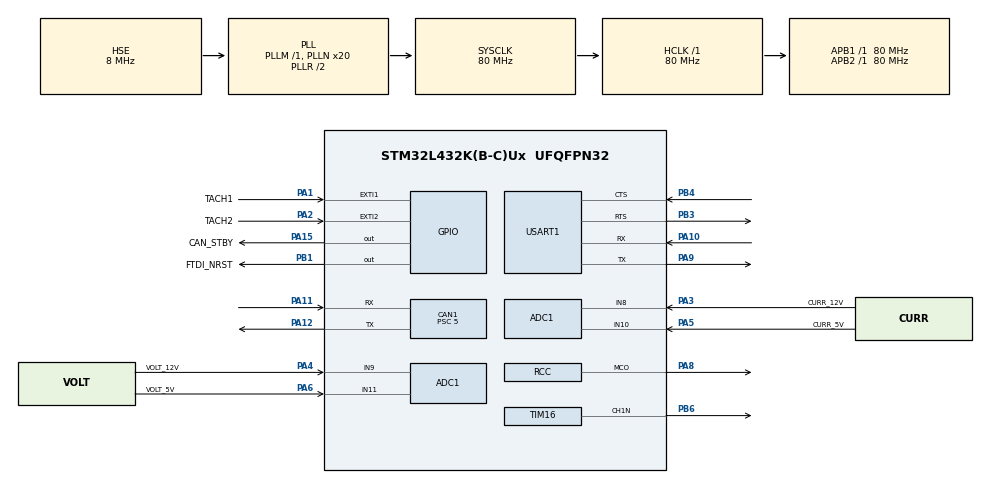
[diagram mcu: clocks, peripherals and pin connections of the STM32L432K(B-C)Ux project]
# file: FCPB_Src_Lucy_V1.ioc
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ADC1.Channel-5\#ChannelRegularConversion=ADC_CHANNEL_8
ADC1.Channel-6\#ChannelRegularConversion=ADC_CHANNEL_9
ADC1.Channel-7\#ChannelRegularConversion=ADC_CHANNEL_10
ADC1.Channel-8\#ChannelRegularConversion=ADC_CHANNEL_11
ADC1.ClockPrescaler=ADC_CLOCK_ASYNC_DIV1
ADC1.DataAlign=ADC_DATAALIGN_RIGHT
ADC1.EOCSelection=ADC_EOC_SINGLE_CONV
ADC1.EnableRegularConversion=ENABLE
ADC1.NbrOfConversion=4
ADC1.NbrOfConversionFlag=1
ADC1.OffsetNumber-5\#ChannelRegularConversion=ADC_OFFSET_NONE
ADC1.OffsetNumber-6\#ChannelRegularConversion=ADC_OFFSET_NONE
ADC1.OffsetNumber-7\#ChannelRegularConversion=ADC_OFFSET_NONE
ADC1.OffsetNumber-8\#ChannelRegularConversion=ADC_OFFSET_NONE
ADC1.Rank-5\#ChannelRegularConversion=1
ADC1.Rank-6\#ChannelRegularConversion=2
ADC1.Rank-7\#ChannelRegularConversion=3
ADC1.Rank-8\#ChannelRegularConversion=4
ADC1.SamplingTime-5\#ChannelRegularConversion=ADC_SAMPLETIME_640CYCLES_5
ADC1.SamplingTime-6\#ChannelRegularConversion=ADC_SAMPLETIME_640CYCLES_5
ADC1.SamplingTime-7\#ChannelRegularConversion=ADC_SAMPLETIME_640CYCLES_5
ADC1.SamplingTime-8\#ChannelRegularConversion=ADC_SAMPLETIME_640CYCLES_5
ADC1.master=1
CAN1.BS1=CAN_BS1_11TQ
CAN1.BS2=CAN_BS2_4TQ
CAN1.CalculateBaudRate=1000000
CAN1.CalculateTimeBit=1000
CAN1.CalculateTimeQuantum=62.5
CAN1.Mode=CAN_MODE_NORMAL
CAN1.Prescaler=5
Dma.ADC1.2.Direction=DMA_PERIPH_TO_MEMORY
Dma.ADC1.2.Instance=DMA1_Channel1
Dma.ADC1.2.MemDataAlignment=DMA_MDATAALIGN_HALFWORD
Dma.ADC1.2.MemInc=DMA_MINC_ENABLE
Dma.ADC1.2.Mode=DMA_NORMAL
Dma.ADC1.2.PeriphDataAlignment=DMA_PDATAALIGN_HALFWORD
Dma.ADC1.2.PeriphInc=DMA_PINC_DISABLE
Dma.ADC1.2.Priority=DMA_PRIORITY_LOW
Dma.Request0=USART1_RX
Dma.Request1=USART1_TX
Dma.Request2=ADC1
Dma.USART1_RX.0.Direction=DMA_PERIPH_TO_MEMORY
Dma.USART1_RX.0.Instance=DMA1_Channel5
Dma.USART1_RX.0.MemDataAlignment=DMA_MDATAALIGN_BYTE
Dma.USART1_RX.0.MemInc=DMA_MINC_ENABLE
Dma.USART1_RX.0.Mode=DMA_CIRCULAR
Dma.USART1_RX.0.PeriphDataAlignment=DMA_PDATAALIGN_BYTE
Dma.USART1_RX.0.PeriphInc=DMA_PINC_DISABLE
Dma.USART1_RX.0.Priority=DMA_PRIORITY_LOW
Dma.USART1_TX.1.Direction=DMA_MEMORY_TO_PERIPH
Dma.USART1_TX.1.Instance=DMA1_Channel4
Dma.USART1_TX.1.MemDataAlignment=DMA_MDATAALIGN_BYTE
Dma.USART1_TX.1.MemInc=DMA_MINC_ENABLE
Dma.USART1_TX.1.Mode=DMA_NORMAL
Dma.USART1_TX.1.PeriphDataAlignment=DMA_PDATAALIGN_BYTE
Dma.USART1_TX.1.PeriphInc=DMA_PINC_DISABLE
Dma.USART1_TX.1.Priority=DMA_PRIORITY_LOW
FREERTOS.BinarySemaphores01=canMsgOkSem,Dynamic,NULL
FREERTOS.Queues01=canRxDataQueue,128,uint32_t,0,Static,canRxDataQueueBuffer,canRxDataQueueControlBlock;canRxRtrQueue,128,uint32_t,0,Static,canRxRtrQueueBuffer,canRxRtrQueueControlBlock
FREERTOS.Tasks01=CanRxTask,25,128,StartCanRxTask,Default,NULL,Static,CanRxTaskBuffer,CanRxTaskControlBlock;AdcTask,26,128,StartAdcTask,Default,NULL,Static,AdcTaskBuffer,AdcTaskControlBlock;FanPwmTask,27,128,StartFanPwmTask,Default,NULL,Static,FanPwmTaskBuffer,FanPwmTaskControlBlock;CanRtrTask,28,128,StartCanRtrTask,Default,NULL,Static,CanRtrTaskBuffer,CanRtrTaskControlBlock
FREERTOS.Timers01=TimerFanRpm,ComputeRpmCallback,osTimerPeriodic,Default,NULL,Static,TimerFanRpmControlBlock
FREERTOS.configENABLE_FPU=1
FREERTOS.configUSE_NEWLIB_REENTRANT=1
Mcu.Family=STM32L4
Mcu.Name=STM32L432K(B-C)Ux
Mcu.Package=UFQFPN32
NVIC.ADC1_IRQn=true\:5\:0\:false\:false\:true\:true\:true\:true\:true
NVIC.CAN1_RX0_IRQn=true\:5\:0\:false\:false\:true\:true\:true\:true\:true
NVIC.CAN1_RX1_IRQn=true\:5\:0\:false\:false\:true\:true\:true\:true\:true
NVIC.CAN1_TX_IRQn=true\:5\:0\:false\:false\:true\:true\:true\:true\:true
NVIC.DMA1_Channel1_IRQn=true\:5\:0\:false\:false\:true\:true\:false\:true\:true
NVIC.DMA1_Channel4_IRQn=true\:5\:0\:false\:false\:true\:true\:false\:true\:true
NVIC.DMA1_Channel5_IRQn=true\:5\:0\:false\:false\:true\:true\:false\:true\:true
NVIC.EXTI1_IRQn=true\:5\:0\:false\:false\:true\:true\:true\:true\:true
NVIC.EXTI2_IRQn=true\:5\:0\:false\:false\:true\:true\:true\:true\:true
NVIC.PriorityGroup=NVIC_PRIORITYGROUP_4
NVIC.TIM1_UP_TIM16_IRQn=true\:15\:0\:false\:false\:true\:false\:false\:true\:true
NVIC.TimeBase=TIM1_UP_TIM16_IRQn
NVIC.TimeBaseIP=TIM1
NVIC.USART1_IRQn=true\:5\:0\:false\:false\:true\:true\:true\:true\:true
PA0.Mode=HSE-External-Clock-Source-for-LittleOrca
PA0.Signal=RCC_CK_IN
PA1.GPIO_Label=TACH1
PA1.GPIO_ModeDefaultEXTI=GPIO_MODE_IT_FALLING
PA1.Signal=GPXTI1
PA10.Mode=Asynchronous
PA10.Signal=USART1_RX
PA11.GPIO_PuPd=GPIO_PULLUP
PA11.Mode=CAN_Activate
PA11.Signal=CAN1_RX
PA12.Mode=CAN_Activate
PA12.Signal=CAN1_TX
PA13\ (JTMS-SWDIO).Mode=Serial_Wire
PA13\ (JTMS-SWDIO).Signal=SYS_JTMS-SWDIO
PA14\ (JTCK-SWCLK).Mode=Serial_Wire
PA14\ (JTCK-SWCLK).Signal=SYS_JTCK-SWCLK
PA15\ (JTDI).GPIO_Label=CAN_STBY
PA15\ (JTDI).GPIO_PuPd=GPIO_PULLDOWN
PA15\ (JTDI).Signal=GPIO_Output
PA2.GPIO_Label=TACH2
PA2.GPIO_ModeDefaultEXTI=GPIO_MODE_IT_FALLING
PA2.Signal=GPXTI2
PA3.GPIO_Label=CURR_12V
PA3.Signal=ADCx_IN8
PA4.GPIO_Label=VOLT_12V
PA4.Signal=ADCx_IN9
PA5.GPIO_Label=CURR_5V
PA5.Signal=ADCx_IN10
PA6.GPIO_Label=VOLT_5V
PA6.Signal=ADCx_IN11
PA8.Mode=Clock-out
PA8.Signal=RCC_MCO
PA9.Mode=Asynchronous
PA9.Signal=USART1_TX
PB1.GPIO_Label=FTDI_NRST
PB1.GPIO_PuPd=GPIO_PULLUP
PB1.Signal=GPIO_Output
PB3\ (JTDO-TRACESWO).Mode=CTS_RTS
PB3\ (JTDO-TRACESWO).Signal=USART1_RTS
PB4\ (NJTRST).Mode=CTS_RTS
PB4\ (NJTRST).Signal=USART1_CTS
PB6.GPIO_FM6=__NULL
PB6.GPIO_PuPd=GPIO_NOPULL
PB6.GPIO_Speed=GPIO_SPEED_FREQ_HIGH
PB6.Mode=PWM Generation1 CH1N
PB6.Signal=TIM16_CH1N
ProjectManager.HeapSize=0x200
ProjectManager.StackSize=0x400
ProjectManager.TargetToolchain=Makefile
RCC.ADCFreq_Value=32000000
RCC.AHBFreq_Value=80000000
RCC.APB1Freq_Value=80000000
RCC.APB1TimFreq_Value=80000000
RCC.APB2Freq_Value=80000000
RCC.APB2TimFreq_Value=80000000
RCC.CortexFreq_Value=80000000
RCC.HCLKFreq_Value=80000000
RCC.HSE_VALUE=8000000
RCC.HSI48_VALUE=48000000
RCC.HSI_VALUE=16000000
RCC.LSE_VALUE=32768
RCC.MSI_VALUE=4000000
RCC.PLLN=20
RCC.PLLSourceVirtual=RCC_PLLSOURCE_HSE
RCC.RCC_MCO1Source=RCC_MCO1SOURCE_HSE
RCC.RCC_MCODiv=RCC_MCODIV_8
RCC.SYSCLKFreq_VALUE=80000000
RCC.SYSCLKSource=RCC_SYSCLKSOURCE_PLLCLK
RCC.USBFreq_Value=32000000
RCC.VCOOutputFreq_Value=160000000
SH.ADCx_IN10.0=ADC1_IN10,IN10-Single-Ended
SH.ADCx_IN11.0=ADC1_IN11,IN11-Single-Ended
SH.ADCx_IN8.0=ADC1_IN8,IN8-Single-Ended
SH.ADCx_IN9.0=ADC1_IN9,IN9-Single-Ended
TIM16.AutoReloadPreload=TIM_AUTORELOAD_PRELOAD_ENABLE
TIM16.Channel=TIM_CHANNEL_1
TIM16.ClockDivision=TIM_CLOCKDIVISION_DIV1
TIM16.Period=99-1
TIM16.Prescaler=800-1
USART1.VirtualMode-Asynchronous=VM_ASYNC
VP_FREERTOS_VS_CMSIS_V2.Mode=CMSIS_V2
VP_SYS_VS_tim1.Mode=TIM1
VP_TIM16_VS_ClockSourceINT.Mode=Enable_Timer
board=custom

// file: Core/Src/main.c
/* USER CODE BEGIN Header */
/**
 ******************************************************************************
 * @file           : main.c
 * @brief          : Main program body
 ******************************************************************************
 * @attention
 *
 * Copyright (c) 2024 STMicroelectronics.
 * All rights reserved.
 *
 * This software is licensed under terms that can be found in the LICENSE file
 * in the root directory of this software component.
 * If no LICENSE file comes with this software, it is provided AS-IS.
 *
 ******************************************************************************
 */
/* USER CODE END Header */
#include "main.h"
#include "cmsis_os.h"

/* USER CODE BEGIN Includes */
#include "canid.h"
#include "cmsis_os2.h"
#include "stm32l4xx_hal_def.h"
#include "stm32l4xx_hal_tim.h"
#include <math.h>
#include <stdint.h>
#include <stdio.h>
#include <string.h>
/* USER CODE END Includes */

typedef StaticTask_t osStaticThreadDef_t;
typedef StaticQueue_t osStaticMessageQDef_t;
typedef StaticTimer_t osStaticTimerDef_t;
/* USER CODE BEGIN PTD */
typedef struct {
  float Volt_12;
  float Curr_12;
  float Volt_5;
  float Curr_5;
  float Tach_1_RPM;
  float Tach_2_RPM;
  float Duty_Cycle;
} fcpbData_t;

typedef struct {
  uint8_t H2_OK;
  float fcTemp;
  float fcPres;
} canData_t;
/* USER CODE END PTD */

/* USER CODE BEGIN PD */
#define CAN_MESSAGE_SENT_TIMEOUT_MS 500
#define CAN_ADD_TX_TIMEOUT_MS 500
/* USER CODE END PD */

ADC_HandleTypeDef hadc1;
DMA_HandleTypeDef hdma_adc1;

CAN_HandleTypeDef hcan1;

TIM_HandleTypeDef htim16;

UART_HandleTypeDef huart1;
DMA_HandleTypeDef hdma_usart1_rx;
DMA_HandleTypeDef hdma_usart1_tx;

/* Definitions for CanRxTask */
osThreadId_t CanRxTaskHandle;
uint32_t CanRxTaskBuffer[128];
osStaticThreadDef_t CanRxTaskControlBlock;
const osThreadAttr_t CanRxTask_attributes = {
    .name = "CanRxTask",
    .cb_mem = &CanRxTaskControlBlock,
    .cb_size = sizeof(CanRxTaskControlBlock),
    .stack_mem = &CanRxTaskBuffer[0],
    .stack_size = sizeof(CanRxTaskBuffer),
    .priority = (osPriority_t)osPriorityNormal1,
};
/* Definitions for AdcTask */
osThreadId_t AdcTaskHandle;
uint32_t AdcTaskBuffer[128];
osStaticThreadDef_t AdcTaskControlBlock;
const osThreadAttr_t AdcTask_attributes = {
    .name = "AdcTask",
    .cb_mem = &AdcTaskControlBlock,
    .cb_size = sizeof(AdcTaskControlBlock),
    .stack_mem = &AdcTaskBuffer[0],
    .stack_size = sizeof(AdcTaskBuffer),
    .priority = (osPriority_t)osPriorityNormal2,
};
/* Definitions for FanPwmTask */
osThreadId_t FanPwmTaskHandle;
uint32_t FanPwmTaskBuffer[128];
osStaticThreadDef_t FanPwmTaskControlBlock;
const osThreadAttr_t FanPwmTask_attributes = {
    .name = "FanPwmTask",
    .cb_mem = &FanPwmTaskControlBlock,
    .cb_size = sizeof(FanPwmTaskControlBlock),
    .stack_mem = &FanPwmTaskBuffer[0],
    .stack_size = sizeof(FanPwmTaskBuffer),
    .priority = (osPriority_t)osPriorityNormal3,
};
/* Definitions for CanRtrTask */
osThreadId_t CanRtrTaskHandle;
uint32_t CanRtrTaskBuffer[128];
osStaticThreadDef_t CanRtrTaskControlBlock;
const osThreadAttr_t CanRtrTask_attributes = {
    .name = "CanRtrTask",
    .cb_mem = &CanRtrTaskControlBlock,
    .cb_size = sizeof(CanRtrTaskControlBlock),
    .stack_mem = &CanRtrTaskBuffer[0],
    .stack_size = sizeof(CanRtrTaskBuffer),
    .priority = (osPriority_t)osPriorityNormal4,
};
/* Definitions for canRxDataQueue */
osMessageQueueId_t canRxDataQueueHandle;
uint8_t canRxDataQueueBuffer[128 * sizeof(uint32_t)];
osStaticMessageQDef_t canRxDataQueueControlBlock;
const osMessageQueueAttr_t canRxDataQueue_attributes = {
    .name = "canRxDataQueue",
    .cb_mem = &canRxDataQueueControlBlock,
    .cb_size = sizeof(canRxDataQueueControlBlock),
    .mq_mem = &canRxDataQueueBuffer,
    .mq_size = sizeof(canRxDataQueueBuffer)};
/* Definitions for canRxRtrQueue */
osMessageQueueId_t canRxRtrQueueHandle;
uint8_t canRxRtrQueueBuffer[128 * sizeof(uint32_t)];
osStaticMessageQDef_t canRxRtrQueueControlBlock;
const osMessageQueueAttr_t canRxRtrQueue_attributes = {
    .name = "canRxRtrQueue",
    .cb_mem = &canRxRtrQueueControlBlock,
    .cb_size = sizeof(canRxRtrQueueControlBlock),
    .mq_mem = &canRxRtrQueueBuffer,
    .mq_size = sizeof(canRxRtrQueueBuffer)};
/* Definitions for TimerFanRpm */
osTimerId_t TimerFanRpmHandle;
osStaticTimerDef_t TimerFanRpmControlBlock;
const osTimerAttr_t TimerFanRpm_attributes = {
    .name = "TimerFanRpm",
    .cb_mem = &TimerFanRpmControlBlock,
    .cb_size = sizeof(TimerFanRpmControlBlock),
};
/* Definitions for canMsgOkSem */
osSemaphoreId_t canMsgOkSemHandle;
const osSemaphoreAttr_t canMsgOkSem_attributes = {.name = "canMsgOkSem"};
/* USER CODE BEGIN PV */
CAN_RxHeaderTypeDef RxHeader;
uint8_t RxData[8];

volatile uint16_t adc1Results[4];

fcpbData_t fan_pwr_data = {
    0.00F, 0.00F, 0.00F, 0.00F, 0.00F, 0.00F, 0.00F,
};

canData_t can_bus_data = {0, 0.00F, 0.00F};

uint8_t RxUARTbuff;
uint8_t RxUARTData[32];
uint8_t UartIndex = 0;

uint32_t TxMailboxPwmTask;
uint32_t TxMailboxCanRtrTask;

uint32_t InterruptTracker[2] = {0};

// Global error tracking variable
uint32_t error_counter = 0;

/* USER CODE END PV */

void SystemClock_Config(void);
static void MX_GPIO_Init(void);
static void MX_DMA_Init(void);
static void MX_CAN1_Init(void);
static void MX_USART1_UART_Init(void);
static void MX_ADC1_Init(void);
static void MX_TIM16_Init(void);
void StartCanRxTask(void *argument);
void StartAdcTask(void *argument);
void StartFanPwmTask(void *argument);
void StartCanRtrTask(void *argument);
void ComputeRpmCallback(void *argument);

/* USER CODE BEGIN PFP */
void HAL_CAN_RxFifo0MsgPendingCallback(CAN_HandleTypeDef *hcan) {
  HAL_CAN_GetRxMessage(hcan, CAN_RX_FIFO0, &RxHeader, RxData);
  if (RxHeader.RTR == CAN_RTR_REMOTE) {
    osMessageQueuePut(canRxRtrQueueHandle, &RxHeader.StdId, 0U, 0UL);
  } else {
    osMessageQueuePut(canRxDataQueueHandle, &RxHeader.StdId, 0U, 0UL);
    // Data request, don't add anything else to queue
    if (RxHeader.DLC <= 4UL) {
      osMessageQueuePut(canRxDataQueueHandle, RxData, 0U, 0UL);
    } else {
      osMessageQueuePut(canRxDataQueueHandle, RxData, 0U, 0UL);
      osMessageQueuePut(canRxDataQueueHandle, &RxData[4], 0U, 0UL);
    }
  }
}

// void HAL_CAN_RxFifo1MsgPendingCallback(CAN_HandleTypeDef *hcan) {
//   HAL_CAN_GetRxMessage(hcan, CAN_RX_FIFO1, &RxHeader, RxData);
//   osMessageQueuePut(canRxQueueHandle, &RxHeader.StdId, 0U, 0UL);
//   // need condition for either 4 byte or 8 byte
//   if (RxHeader.DLC == 0UL) {
//     // Data request, don't add anything else to queue
//   } else if (RxHeader.DLC <= 4UL) {
//     osMessageQueuePut(canRxQueueHandle, RxData, 0U, 0UL);
//   } else {
//     osMessageQueuePut(canRxQueueHandle, RxData, 0U, 0UL);
//     osMessageQueuePut(canRxQueueHandle, &RxData[4], 0U, 0UL);
//   }
// }

/* Transmit Completed Callbacks for Message Sent Confirmations */
void HAL_CAN_TxMailbox0CompleteCallback(CAN_HandleTypeDef *hcan) {}
void HAL_CAN_TxMailbox1CompleteCallback(CAN_HandleTypeDef *hcan) {}
void HAL_CAN_TxMailbox2CompleteCallback(CAN_HandleTypeDef *hcan) {}

void HAL_UART_RxCpltCallback(UART_HandleTypeDef *huart) {
  if (RxUARTbuff == (char)0x04) {
    HAL_UART_Transmit_DMA(huart, RxUARTData, UartIndex);
    UartIndex = 0;
  } else {
    RxUARTData[UartIndex] = RxUARTbuff;
    if (UartIndex == (sizeof(RxUARTData) - 1)) {
      UartIndex = 0;
    } else {
      UartIndex++;
    }
  }
  HAL_UART_Receive_DMA(huart, &RxUARTbuff, 1U);
}

void HAL_GPIO_EXTI_Callback(uint16_t GPIO_Pin) {
  switch (GPIO_Pin) {
  case (TACH1_Pin):
    InterruptTracker[0]++;
    break;
  case (TACH2_Pin):
    InterruptTracker[1]++;
    break;
  default:
    /* Should never happen */
    break;
  }
}

// Utilized in ADC Thread below
uint32_t conversion_completed = 0;

void HAL_ADC_ConvCpltCallback(ADC_HandleTypeDef *hadc) {
  if (hadc->Instance == hadc1.Instance) {
    conversion_completed++;
  }
}

HAL_StatusTypeDef HAL_CAN_SafeAddTxMessage(uint8_t *msg, uint32_t msg_id,
                                           uint32_t msg_length,
                                           uint32_t *TxMailbox, uint32_t rtr) {
  uint32_t fc_tick;
  HAL_StatusTypeDef hal_stat;
  CAN_TxHeaderTypeDef TxHeader;

  // These will never change
  TxHeader.IDE = CAN_ID_STD;
  TxHeader.ExtId = 0;
  TxHeader.TransmitGlobalTime = DISABLE;

  // User will give us this information
  TxHeader.RTR = rtr;
  TxHeader.StdId = msg_id;
  TxHeader.DLC = msg_length;

  // Start a timer to check timeout conditions
  fc_tick = HAL_GetTick();

  /* Try to add a Tx message. Returns HAL_ERROR if there are no avail
   * mailboxes or if the peripheral is not initialized. */
  do {
    hal_stat = HAL_CAN_AddTxMessage(&hcan1, &TxHeader, msg, TxMailbox);
  } while (hal_stat != HAL_OK &&
           (HAL_GetTick() - fc_tick < CAN_ADD_TX_TIMEOUT_MS));

  return hal_stat;
}
/* USER CODE END PFP */

int main(void) {

  /* MCU Configuration--------------------------------------------------------*/

  /* Reset of all peripherals, Initializes the Flash interface and the Systick.
   */
  HAL_Init();

  /* Configure the system clock */
  SystemClock_Config();

  /* Initialize all configured peripherals */
  MX_GPIO_Init();
  MX_DMA_Init();
  MX_CAN1_Init();
  MX_USART1_UART_Init();
  MX_ADC1_Init();
  MX_TIM16_Init();
  /* USER CODE BEGIN 2 */
  HAL_CAN_Start(&hcan1);

  HAL_GPIO_WritePin(FTDI_NRST_GPIO_Port, FTDI_NRST_Pin, GPIO_PIN_SET);

  HAL_UART_Receive_DMA(&huart1, &RxUARTbuff, 1U);
  /* USER CODE END 2 */

  /* Init scheduler */
  osKernelInitialize();

  /* Create the semaphores(s) */
  /* creation of canMsgOkSem */
  canMsgOkSemHandle = osSemaphoreNew(1, 0, &canMsgOkSem_attributes);

  /* Create the timer(s) */
  /* creation of TimerFanRpm */
  TimerFanRpmHandle = osTimerNew(ComputeRpmCallback, osTimerPeriodic, NULL,
                                 &TimerFanRpm_attributes);

  /* Create the queue(s) */
  /* creation of canRxDataQueue */
  canRxDataQueueHandle =
      osMessageQueueNew(128, sizeof(uint32_t), &canRxDataQueue_attributes);

  /* creation of canRxRtrQueue */
  canRxRtrQueueHandle =
      osMessageQueueNew(128, sizeof(uint32_t), &canRxRtrQueue_attributes);

  /* Create the thread(s) */
  /* creation of CanRxTask */
  CanRxTaskHandle = osThreadNew(StartCanRxTask, NULL, &CanRxTask_attributes);

  /* creation of AdcTask */
  AdcTaskHandle = osThreadNew(StartAdcTask, NULL, &AdcTask_attributes);

  /* creation of FanPwmTask */
  FanPwmTaskHandle = osThreadNew(StartFanPwmTask, NULL, &FanPwmTask_attributes);

  /* creation of CanRtrTask */
  CanRtrTaskHandle = osThreadNew(StartCanRtrTask, NULL, &CanRtrTask_attributes);

  /* Start scheduler */
  osKernelStart();

  /* We should never get here as control is now taken by the scheduler */
  /* Infinite loop */
  while (1) {

  }
}

void SystemClock_Config(void) {
  RCC_OscInitTypeDef RCC_OscInitStruct = {0};
  RCC_ClkInitTypeDef RCC_ClkInitStruct = {0};

  /** Configure the main internal regulator output voltage
   */
  if (HAL_PWREx_ControlVoltageScaling(PWR_REGULATOR_VOLTAGE_SCALE1) != HAL_OK) {
    Error_Handler();
  }

  /** Initializes the RCC Oscillators according to the specified parameters
   * in the RCC_OscInitTypeDef structure.
   */
  RCC_OscInitStruct.OscillatorType = RCC_OSCILLATORTYPE_HSE;
  RCC_OscInitStruct.HSEState = RCC_HSE_BYPASS;
  RCC_OscInitStruct.PLL.PLLState = RCC_PLL_ON;
  RCC_OscInitStruct.PLL.PLLSource = RCC_PLLSOURCE_HSE;
  RCC_OscInitStruct.PLL.PLLM = 1;
  RCC_OscInitStruct.PLL.PLLN = 20;
  RCC_OscInitStruct.PLL.PLLP = RCC_PLLP_DIV7;
  RCC_OscInitStruct.PLL.PLLQ = RCC_PLLQ_DIV2;
  RCC_OscInitStruct.PLL.PLLR = RCC_PLLR_DIV2;
  if (HAL_RCC_OscConfig(&RCC_OscInitStruct) != HAL_OK) {
    Error_Handler();
  }

  /** Initializes the CPU, AHB and APB buses clocks
   */
  RCC_ClkInitStruct.ClockType = RCC_CLOCKTYPE_HCLK | RCC_CLOCKTYPE_SYSCLK |
                                RCC_CLOCKTYPE_PCLK1 | RCC_CLOCKTYPE_PCLK2;
  RCC_ClkInitStruct.SYSCLKSource = RCC_SYSCLKSOURCE_PLLCLK;
  RCC_ClkInitStruct.AHBCLKDivider = RCC_SYSCLK_DIV1;
  RCC_ClkInitStruct.APB1CLKDivider = RCC_HCLK_DIV1;
  RCC_ClkInitStruct.APB2CLKDivider = RCC_HCLK_DIV1;

  if (HAL_RCC_ClockConfig(&RCC_ClkInitStruct, FLASH_LATENCY_4) != HAL_OK) {
    Error_Handler();
  }
  HAL_RCC_MCOConfig(RCC_MCO1, RCC_MCO1SOURCE_HSE, RCC_MCODIV_8);
}

static void MX_ADC1_Init(void) {

  ADC_ChannelConfTypeDef sConfig = {0};

  /** Common config
   */
  hadc1.Instance = ADC1;
  hadc1.Init.ClockPrescaler = ADC_CLOCK_ASYNC_DIV1;
  hadc1.Init.Resolution = ADC_RESOLUTION_12B;
  hadc1.Init.DataAlign = ADC_DATAALIGN_RIGHT;
  hadc1.Init.ScanConvMode = ADC_SCAN_ENABLE;
  hadc1.Init.EOCSelection = ADC_EOC_SINGLE_CONV;
  hadc1.Init.LowPowerAutoWait = DISABLE;
  hadc1.Init.ContinuousConvMode = DISABLE;
  hadc1.Init.NbrOfConversion = 4;
  hadc1.Init.DiscontinuousConvMode = DISABLE;
  hadc1.Init.ExternalTrigConv = ADC_SOFTWARE_START;
  hadc1.Init.ExternalTrigConvEdge = ADC_EXTERNALTRIGCONVEDGE_NONE;
  hadc1.Init.DMAContinuousRequests = DISABLE;
  hadc1.Init.Overrun = ADC_OVR_DATA_PRESERVED;
  hadc1.Init.OversamplingMode = DISABLE;
  if (HAL_ADC_Init(&hadc1) != HAL_OK) {
    Error_Handler();
  }

  /** Configure Regular Channel
   */
  sConfig.Channel = ADC_CHANNEL_8;
  sConfig.Rank = ADC_REGULAR_RANK_1;
  sConfig.SamplingTime = ADC_SAMPLETIME_640CYCLES_5;
  sConfig.SingleDiff = ADC_SINGLE_ENDED;
  sConfig.OffsetNumber = ADC_OFFSET_NONE;
  sConfig.Offset = 0;
  if (HAL_ADC_ConfigChannel(&hadc1, &sConfig) != HAL_OK) {
    Error_Handler();
  }

  /** Configure Regular Channel
   */
  sConfig.Channel = ADC_CHANNEL_9;
  sConfig.Rank = ADC_REGULAR_RANK_2;
  if (HAL_ADC_ConfigChannel(&hadc1, &sConfig) != HAL_OK) {
    Error_Handler();
  }

  /** Configure Regular Channel
   */
  sConfig.Channel = ADC_CHANNEL_10;
  sConfig.Rank = ADC_REGULAR_RANK_3;
  if (HAL_ADC_ConfigChannel(&hadc1, &sConfig) != HAL_OK) {
    Error_Handler();
  }

  /** Configure Regular Channel
   */
  sConfig.Channel = ADC_CHANNEL_11;
  sConfig.Rank = ADC_REGULAR_RANK_4;
  if (HAL_ADC_ConfigChannel(&hadc1, &sConfig) != HAL_OK) {
    Error_Handler();
  }
}

static void MX_CAN1_Init(void) {

  hcan1.Instance = CAN1;
  hcan1.Init.Prescaler = 5;
  hcan1.Init.Mode = CAN_MODE_NORMAL;
  hcan1.Init.SyncJumpWidth = CAN_SJW_1TQ;
  hcan1.Init.TimeSeg1 = CAN_BS1_11TQ;
  hcan1.Init.TimeSeg2 = CAN_BS2_4TQ;
  hcan1.Init.TimeTriggeredMode = DISABLE;
  hcan1.Init.AutoBusOff = DISABLE;
  hcan1.Init.AutoWakeUp = DISABLE;
  hcan1.Init.AutoRetransmission = DISABLE;
  hcan1.Init.ReceiveFifoLocked = DISABLE;
  hcan1.Init.TransmitFifoPriority = DISABLE;
  if (HAL_CAN_Init(&hcan1) != HAL_OK) {
    Error_Handler();
  }
  /* USER CODE BEGIN CAN1_Init 2 */
  CAN_FilterTypeDef sf;
  // Accept StdID 0x101 to 0x103
  sf.FilterIdHigh = 0x201 << 5;
  sf.FilterMaskIdHigh = 0x7FF << 5;
  sf.FilterIdLow = 0x0000;
  sf.FilterMaskIdLow = 0x0000;
  sf.FilterFIFOAssignment = CAN_FILTER_FIFO0;
  sf.FilterBank = 0;
  sf.FilterMode = CAN_FILTERMODE_IDMASK;
  sf.FilterScale = CAN_FILTERSCALE_32BIT;
  sf.FilterActivation = CAN_FILTER_ENABLE;
  if (HAL_CAN_ConfigFilter(&hcan1, &sf) != HAL_OK) {
    Error_Handler();
  }
  /* USER CODE END CAN1_Init 2 */
}

static void MX_TIM16_Init(void) {

  TIM_OC_InitTypeDef sConfigOC = {0};
  TIM_BreakDeadTimeConfigTypeDef sBreakDeadTimeConfig = {0};

  htim16.Instance = TIM16;
  htim16.Init.Prescaler = 800 - 1;
  htim16.Init.CounterMode = TIM_COUNTERMODE_UP;
  htim16.Init.Period = 100 - 1;
  htim16.Init.ClockDivision = TIM_CLOCKDIVISION_DIV1;
  htim16.Init.RepetitionCounter = 0;
  htim16.Init.AutoReloadPreload = TIM_AUTORELOAD_PRELOAD_ENABLE;
  if (HAL_TIM_Base_Init(&htim16) != HAL_OK) {
    Error_Handler();
  }
  if (HAL_TIM_PWM_Init(&htim16) != HAL_OK) {
    Error_Handler();
  }
  sConfigOC.OCMode = TIM_OCMODE_PWM1;
  sConfigOC.Pulse = 0;
  sConfigOC.OCPolarity = TIM_OCPOLARITY_HIGH;
  sConfigOC.OCNPolarity = TIM_OCNPOLARITY_HIGH;
  sConfigOC.OCFastMode = TIM_OCFAST_DISABLE;
  sConfigOC.OCIdleState = TIM_OCIDLESTATE_RESET;
  sConfigOC.OCNIdleState = TIM_OCNIDLESTATE_RESET;
  if (HAL_TIM_PWM_ConfigChannel(&htim16, &sConfigOC, TIM_CHANNEL_1) != HAL_OK) {
    Error_Handler();
  }
  sBreakDeadTimeConfig.OffStateRunMode = TIM_OSSR_DISABLE;
  sBreakDeadTimeConfig.OffStateIDLEMode = TIM_OSSI_DISABLE;
  sBreakDeadTimeConfig.LockLevel = TIM_LOCKLEVEL_OFF;
  sBreakDeadTimeConfig.DeadTime = 0;
  sBreakDeadTimeConfig.BreakState = TIM_BREAK_DISABLE;
  sBreakDeadTimeConfig.BreakPolarity = TIM_BREAKPOLARITY_HIGH;
  sBreakDeadTimeConfig.AutomaticOutput = TIM_AUTOMATICOUTPUT_DISABLE;
  if (HAL_TIMEx_ConfigBreakDeadTime(&htim16, &sBreakDeadTimeConfig) != HAL_OK) {
    Error_Handler();
  }
  HAL_TIM_MspPostInit(&htim16);
}

static void MX_USART1_UART_Init(void) {

  huart1.Instance = USART1;
  huart1.Init.BaudRate = 115200;
  huart1.Init.WordLength = UART_WORDLENGTH_8B;
  huart1.Init.StopBits = UART_STOPBITS_1;
  huart1.Init.Parity = UART_PARITY_NONE;
  huart1.Init.Mode = UART_MODE_TX_RX;
  huart1.Init.HwFlowCtl = UART_HWCONTROL_NONE;
  huart1.Init.OverSampling = UART_OVERSAMPLING_16;
  huart1.Init.OneBitSampling = UART_ONE_BIT_SAMPLE_DISABLE;
  huart1.AdvancedInit.AdvFeatureInit = UART_ADVFEATURE_NO_INIT;
  if (HAL_UART_Init(&huart1) != HAL_OK) {
    Error_Handler();
  }
}

static void MX_DMA_Init(void) {

  /* DMA controller clock enable */
  __HAL_RCC_DMA1_CLK_ENABLE();

  /* DMA interrupt init */
  /* DMA1_Channel1_IRQn interrupt configuration */
  HAL_NVIC_SetPriority(DMA1_Channel1_IRQn, 5, 0);
  HAL_NVIC_EnableIRQ(DMA1_Channel1_IRQn);
  /* DMA1_Channel4_IRQn interrupt configuration */
  HAL_NVIC_SetPriority(DMA1_Channel4_IRQn, 5, 0);
  HAL_NVIC_EnableIRQ(DMA1_Channel4_IRQn);
  /* DMA1_Channel5_IRQn interrupt configuration */
  HAL_NVIC_SetPriority(DMA1_Channel5_IRQn, 5, 0);
  HAL_NVIC_EnableIRQ(DMA1_Channel5_IRQn);
}

static void MX_GPIO_Init(void) {
  GPIO_InitTypeDef GPIO_InitStruct = {0};

  /* GPIO Ports Clock Enable */
  __HAL_RCC_GPIOA_CLK_ENABLE();
  __HAL_RCC_GPIOB_CLK_ENABLE();

  /*Configure GPIO pin Output Level */
  HAL_GPIO_WritePin(FTDI_NRST_GPIO_Port, FTDI_NRST_Pin, GPIO_PIN_RESET);

  /*Configure GPIO pin Output Level */
  HAL_GPIO_WritePin(CAN_STBY_GPIO_Port, CAN_STBY_Pin, GPIO_PIN_RESET);

  /*Configure GPIO pins : TACH1_Pin TACH2_Pin */
  GPIO_InitStruct.Pin = TACH1_Pin | TACH2_Pin;
  GPIO_InitStruct.Mode = GPIO_MODE_IT_FALLING;
  GPIO_InitStruct.Pull = GPIO_NOPULL;
  HAL_GPIO_Init(GPIOA, &GPIO_InitStruct);

  /*Configure GPIO pin : FTDI_NRST_Pin */
  GPIO_InitStruct.Pin = FTDI_NRST_Pin;
  GPIO_InitStruct.Mode = GPIO_MODE_OUTPUT_PP;
  GPIO_InitStruct.Pull = GPIO_PULLUP;
  GPIO_InitStruct.Speed = GPIO_SPEED_FREQ_LOW;
  HAL_GPIO_Init(FTDI_NRST_GPIO_Port, &GPIO_InitStruct);

  /*Configure GPIO pin : PA8 */
  GPIO_InitStruct.Pin = GPIO_PIN_8;
  GPIO_InitStruct.Mode = GPIO_MODE_AF_PP;
  GPIO_InitStruct.Pull = GPIO_NOPULL;
  GPIO_InitStruct.Speed = GPIO_SPEED_FREQ_LOW;
  GPIO_InitStruct.Alternate = GPIO_AF0_MCO;
  HAL_GPIO_Init(GPIOA, &GPIO_InitStruct);

  /*Configure GPIO pin : CAN_STBY_Pin */
  GPIO_InitStruct.Pin = CAN_STBY_Pin;
  GPIO_InitStruct.Mode = GPIO_MODE_OUTPUT_PP;
  GPIO_InitStruct.Pull = GPIO_PULLDOWN;
  GPIO_InitStruct.Speed = GPIO_SPEED_FREQ_LOW;
  HAL_GPIO_Init(CAN_STBY_GPIO_Port, &GPIO_InitStruct);

  /* EXTI interrupt init*/
  HAL_NVIC_SetPriority(EXTI1_IRQn, 5, 0);
  HAL_NVIC_EnableIRQ(EXTI1_IRQn);

  HAL_NVIC_SetPriority(EXTI2_IRQn, 5, 0);
  HAL_NVIC_EnableIRQ(EXTI2_IRQn);

}

void StartCanRxTask(void *argument) {
  /* USER CODE BEGIN 5 */
  // Activate notifications after the message queues have been created
  HAL_CAN_ActivateNotification(&hcan1, CAN_IT_RX_FIFO0_MSG_PENDING);
  HAL_CAN_ActivateNotification(&hcan1, CAN_IT_RX_FIFO1_MSG_PENDING);
  HAL_CAN_ActivateNotification(&hcan1, CAN_IT_TX_MAILBOX_EMPTY);
  /* Infinite loop */
  uint32_t queueData;
  for (;;) {
    if (osMessageQueueGet(canRxDataQueueHandle, &queueData, 0U,
                          osWaitForever) == osOK) {
      switch (queueData) {
      case INTERNAL_FUEL_CELL_PACKET:
        osMessageQueueGet(canRxDataQueueHandle, &queueData, 0U, 10UL);
        memcpy(&can_bus_data.fcPres, &queueData, sizeof(uint32_t));
        osMessageQueueGet(canRxDataQueueHandle, &queueData, 0U, 10UL);
        memcpy(&can_bus_data.fcTemp, &queueData, sizeof(uint32_t));
        break;
      default:
        break;
      }
    }
    osDelay(10);
  }
  /* USER CODE END 5 */
}

void StartAdcTask(void *argument) {
  /* USER CODE BEGIN StartAdcTask */

  const float ADC_VOLT_REF = 3.3F / 4096.0F;
  const float CURR_TRANSFER = 0.667F;
  const float VOLT_TRANSFER = 0.107F;
  const float VOLT_TO_CURR_UNI = 12.5F; // A/V
  const float VOLT_TO_CURR_BI = 25.0F;  // A/V

  adc1Results[0] = adc1Results[1] = adc1Results[2] = adc1Results[3] = 0;
  HAL_ADC_Start_DMA(&hadc1, (uint32_t *)adc1Results, 4);

  for (;;) {
    if (conversion_completed == 1) {

      conversion_completed = 0;

      HAL_ADC_Start_DMA(&hadc1, (uint32_t *)adc1Results, 4);
    }
    osDelay(10);
  }
  /* USER CODE END StartAdcTask */
}

void StartFanPwmTask(void *argument) {
  /* USER CODE BEGIN StartFanPwmTask */
  uint32_t CCR1_set;

  osTimerStart(TimerFanRpmHandle, 1000);

  HAL_TIM_PWM_Start(&htim16, TIM_CHANNEL_1);
  HAL_TIMEx_PWMN_Start(&htim16, TIM_CHANNEL_1);
  /* Infinite loop */
  for (;;) {
    HAL_CAN_SafeAddTxMessage(NULL, (uint32_t)INTERNAL_FUEL_CELL_PACKET, 0UL,
                             &TxMailboxPwmTask, (uint32_t)CAN_RTR_REMOTE);
    htim16.Instance->CCR1 = 75;
    // if (can_bus_data.fcTemp < 30.0f) {
    //   htim16.Instance->CCR1 = 50;
    // } else if (can_bus_data.fcTemp < 50.0f) {
    //   htim16.Instance->CCR1 = 65;
    // } else {
    //   htim16.Instance->CCR1 = 100;
    // }
    osDelay(500);
  }
  /* USER CODE END StartFanPwmTask */
}

void StartCanRtrTask(void *argument) {
  /* USER CODE BEGIN StartCanRtrTask */
  /* Infinite loop */
  HAL_StatusTypeDef hal_stat;
  uint32_t queueData;
  float floatPackage[2];
  /* Infinite loop */
  for (;;) {
    if (osMessageQueueGet(canRxRtrQueueHandle, &queueData, 0U, osWaitForever) ==
        osOK) {
      switch (queueData) {
      case FAN_RPM_PACKET:
        floatPackage[0] = fan_pwr_data.Tach_1_RPM;
        floatPackage[1] = fan_pwr_data.Tach_2_RPM;
        hal_stat = HAL_CAN_SafeAddTxMessage(
            (uint8_t *)&floatPackage, FAN_RPM_PACKET, 8UL, &TxMailboxCanRtrTask,
            (uint32_t)CAN_RTR_DATA);
        if (hal_stat == HAL_ERROR) {
          error_counter++;
        }
        break;
      default:
        // this shouldn't happen
        break;
      }
    }
    osDelay(10);
  }
  /* USER CODE END StartCanRtrTask */
}

/* ComputeRpmCallback function */
void ComputeRpmCallback(void *argument) {
  /* USER CODE BEGIN ComputeRpmCallback */
  fan_pwr_data.Tach_1_RPM = InterruptTracker[0] * 60.0 / 2;
  fan_pwr_data.Tach_2_RPM = InterruptTracker[1] * 60.0 / 2;
  InterruptTracker[0] = InterruptTracker[1] = 0;
  /* USER CODE END ComputeRpmCallback */
}

void HAL_TIM_PeriodElapsedCallback(TIM_HandleTypeDef *htim) {
  if (htim->Instance == TIM1) {
    HAL_IncTick();
  }
}

void Error_Handler(void) {
  __disable_irq();
  while (1) {
  }
}

#ifdef USE_FULL_ASSERT
/**
 * @brief  Reports the name of the source file and the source line number
 *         where the assert_param error has occurred.
 * @param  file: pointer to the source file name
 * @param  line: assert_param error line source number
 * @retval None
 */
void assert_failed(uint8_t *file, uint32_t line) {
  /* USER CODE BEGIN 6 */
  /* User can add his own implementation to report the file name and line
     number, ex: printf("Wrong parameters value: file %s on line %d\r\n", file,
     line) */
  /* USER CODE END 6 */
}
#endif /* USE_FULL_ASSERT */
